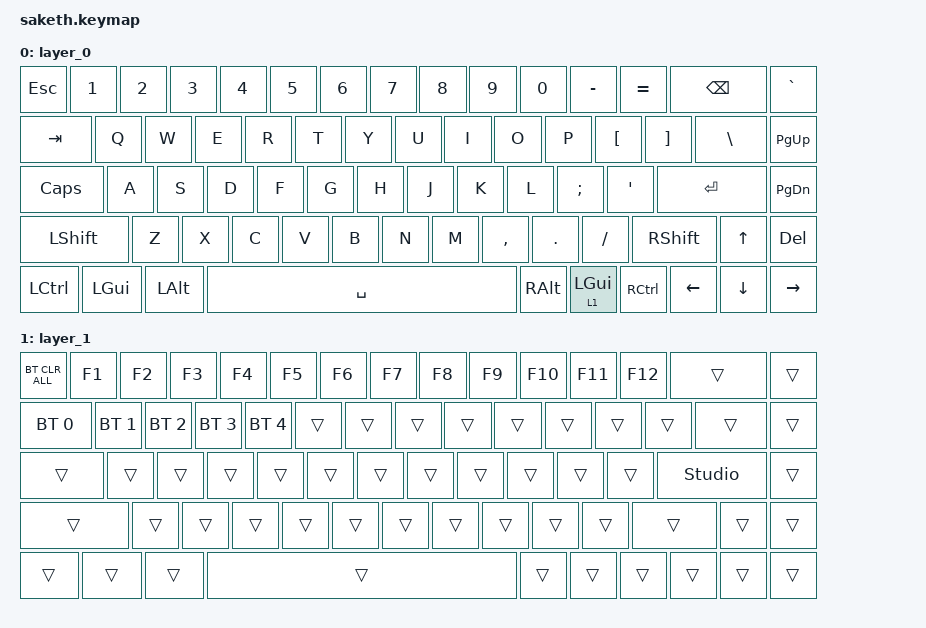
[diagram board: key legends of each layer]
#include <behaviors.dtsi>
#include <dt-bindings/zmk/bt.h>
#include <dt-bindings/zmk/keys.h>

/ {
    keymap {
        compatible = "zmk,keymap";

        layer_0 {
            bindings = <
&kp ESC    &kp N1    &kp N2    &kp N3  &kp N4  &kp N5     &kp N6  &kp N7  &kp N8     &kp N9    &kp N0          &kp MINUS  &kp EQUAL  &kp BSPC   &kp GRAVE
&kp TAB    &kp Q     &kp W     &kp E   &kp R   &kp T      &kp Y   &kp U   &kp I      &kp O     &kp P           &kp LBKT   &kp RBKT   &kp BSLH   &kp PG_UP
&kp CAPS   &kp A     &kp S     &kp D   &kp F   &kp G      &kp H   &kp J   &kp K      &kp L     &kp SEMI        &kp APOS              &kp ENTER  &kp PG_DN
&kp LSHFT  &kp Z     &kp X     &kp C   &kp V   &kp B      &kp N   &kp M   &kp COMMA  &kp DOT   &kp FSLH                   &kp RSHFT  &kp UP     &kp DEL
&kp LCTRL  &kp LGUI  &kp LALT                  &kp SPACE                             &kp RALT  &lt 1 LEFT_GUI  &kp RCTRL  &kp LEFT   &kp DOWN   &kp RIGHT
            >;
        };

        layer_1 {
            bindings = <
&bt BT_CLR_ALL  &kp F1        &kp F2        &kp F3        &kp F4        &kp F5  &kp F6  &kp F7  &kp F8  &kp F9  &kp F10  &kp F11  &kp F12  &trans          &trans
&bt BT_SEL 0    &bt BT_SEL 1  &bt BT_SEL 2  &bt BT_SEL 3  &bt BT_SEL 4  &trans  &trans  &trans  &trans  &trans  &trans   &trans   &trans   &trans          &trans
&trans          &trans        &trans        &trans        &trans        &trans  &trans  &trans  &trans  &trans  &trans   &trans            &studio_unlock  &trans
&trans          &trans        &trans        &trans        &trans        &trans  &trans  &trans  &trans  &trans  &trans            &trans   &trans          &trans
&trans          &trans        &trans                                    &trans                          &trans  &trans   &trans   &trans   &trans          &trans
            >;
        };
        
        extra1 {
            status = "reserved";
        };

        extra2 {
            status = "reserved";
        };

        extra3 {
            status = "reserved";
        };

        extra4 {
            status = "reserved";
        };
    };
};
